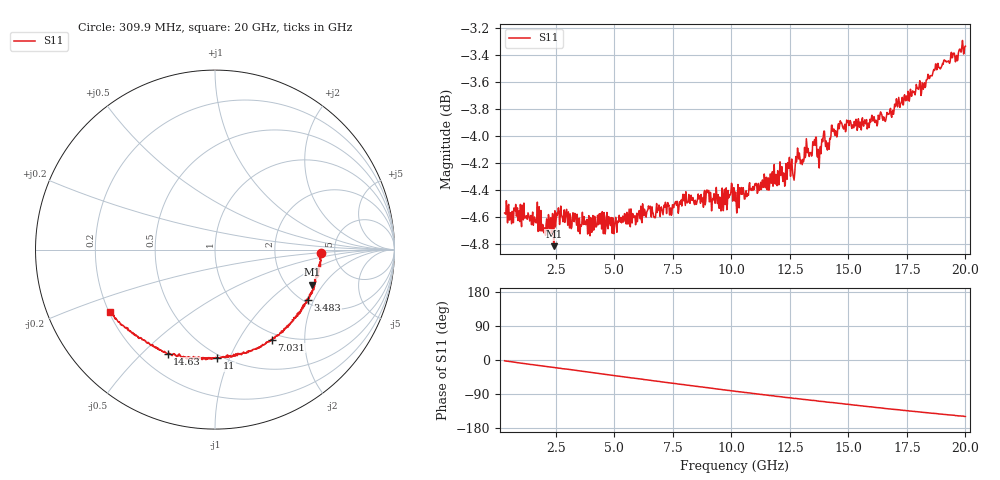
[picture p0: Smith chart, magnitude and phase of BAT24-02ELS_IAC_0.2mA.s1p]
! Infineon Technologies  Discrete & RF Semiconductors
! BAT24-02ELS
! IAC = 0.2 mA
! One-Port S-Parameters
# Hz  S  MA  R  50
!f  S11
!Hz  Mag  Ang
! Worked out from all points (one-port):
!   789 points, 309.9 MHz to 20 GHz, reference 50 ohm
!   lowest |S11| = -4.8 dB at 2.409 GHz (marker M1), VSWR 3.70, Z = 135 - j78.1 ohm
!   |S11| at or under -10 dB: nowhere
!   S11 on the Smith chart (normalised r, x): 309.9 MHz: 3.87, -0.26; 3.483 GHz: 2.10, -1.80; 7.031 GHz: 0.90, -1.39; 11 GHz: 0.47, -0.90; 14.63 GHz: 0.31, -0.60; 20 GHz: 0.20, -0.27
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3.0985e8  0.5909 -2.1
1.134438e9  0.5959 -9.2
2.4088e9  0.5745 -19.8
2.783612e9  0.5884 -23.0
3.483262e9  0.5879 -28.5
4.432788e9  0.5908 -36.5
5.232388e9  0.5871 -43.2
6.481762e9  0.5932 -53.2
7.031488e9  0.5926 -57.8
7.70615e9  0.5948 -63.1
8.980512e9  0.6023 -73.0
1.015492e10  0.597 -82.5
1.10045e10  0.6058 -88.7
1.175412e10  0.6121 -94.3
1.262869e10  0.6107 -100.9
1.282859e10  0.6245 -101.9
1.302849e10  0.6158 -103.7
1.355322e10  0.629 -107.0
1.375312e10  0.614 -109.0
1.392804e10  0.6311 -109.6
1.410295e10  0.6234 -111.2
1.430285e10  0.6368 -112.2
1.462769e10  0.6367 -114.5
1.507746e10  0.6393 -117.5
1.652674e10  0.6411 -127.6
1.755122e10  0.6555 -133.8
1.875062e10  0.6708 -141.3
2e10  0.6812 -149.1
